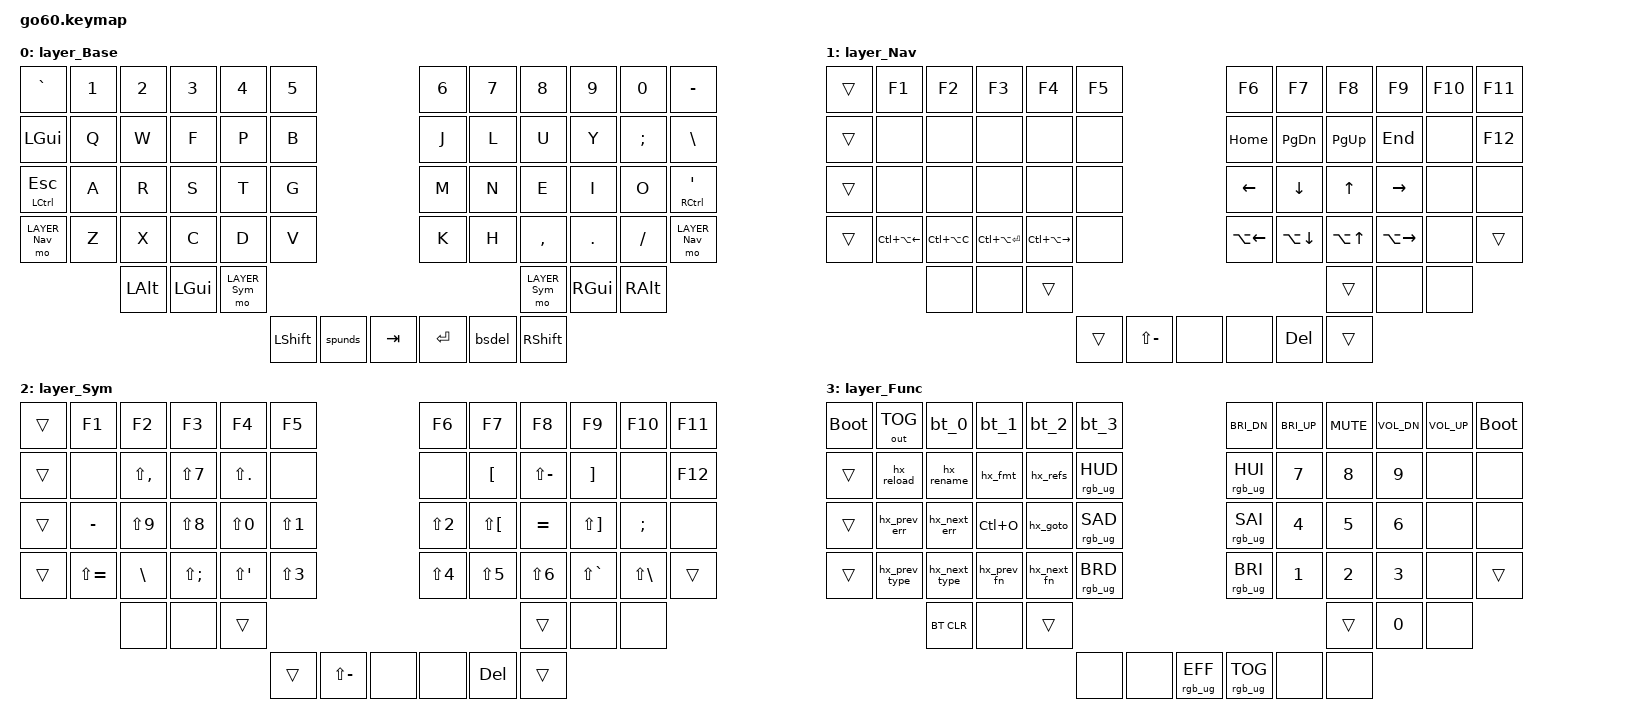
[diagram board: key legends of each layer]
/*
 * Copyright (c) 2020 The ZMK Contributors
 * Copyright (c) 2025 Innaworks Development Limited, trading as MoErgo
 *
 * SPDX-License-Identifier: MIT
 */


/* THIS FILE WAS GENERATED BY GO60 LAYOUT EDITOR
 *
 * This file was generated automatically. You may or may not want to
 * edit it directly.
 */

#include <behaviors.dtsi>

/* Include all behavior includes needed */

#include <dt-bindings/zmk/outputs.h>
#include <dt-bindings/zmk/keys.h>
#include <dt-bindings/zmk/bt.h>
#include <dt-bindings/zmk/rgb.h>

#include <input/processors.dtsi>
#include <dt-bindings/zmk/input_transform.h>
#include <zephyr/dt-bindings/input/input-event-codes.h>

/* On demand includes */
#include <dt-bindings/zmk/input_transform.h>
#include <dt-bindings/zmk/pointing.h>
#include <input/processors.dtsi>

/* Helper Macros, based on https://github.com/urob/zmk-helpers/ */

#pragma once

#define ZMK_HELPER_STRINGIFY(x) #x

// Preprocessor mechanism to overload macros, cf. https://stackoverflow.com/a/27051616/6114651
#define VARGS_(_10, _9, _8, _7, _6, _5, _4, _3, _2, _1, N, ...) N
#define VARGS(...) VARGS_(__VA_ARGS__, 10, 9, 8, 7, 6, 5, 4, 3, 2, 1, 0)
#define CONCAT_(a, b) a##b
#define CONCAT(a, b) CONCAT_(a, b)

#define ZMK_BEHAVIOR_CORE_tap_dance  \
    compatible = "zmk,behavior-tap-dance"; \
    #binding-cells = <0>

#define ZMK_BEHAVIOR(name, type, ...) \
    name: name { \
        ZMK_BEHAVIOR_CORE_ ## type; \
        __VA_ARGS__ \
    };

#define ZMK_TAP_DANCE(name, ...) \
    ZMK_BEHAVIOR(name, tap_dance, __VA_ARGS__)

#define ZMK_TD_LAYER(name, layer) \
    ZMK_TAP_DANCE(name, \
        tapping-term-ms = <200>; \
        bindings = <&mo layer>, <&to layer>; \
)


/* Key positions */

#define POS_LH_C6R1 0
#define POS_LH_C5R1 1
#define POS_LH_C4R1 2
#define POS_LH_C3R1 3
#define POS_LH_C2R1 4
#define POS_LH_C1R1 5
#define POS_RH_C1R1 6
#define POS_RH_C2R1 7
#define POS_RH_C3R1 8
#define POS_RH_C4R1 9
#define POS_RH_C5R1 10
#define POS_RH_C6R1 11
#define POS_LH_C6R2 12
#define POS_LH_C5R2 13
#define POS_LH_C4R2 14
#define POS_LH_C3R2 15
#define POS_LH_C2R2 16
#define POS_LH_C1R2 17
#define POS_RH_C1R2 18
#define POS_RH_C2R2 19
#define POS_RH_C3R2 20
#define POS_RH_C4R2 21
#define POS_RH_C5R2 22
#define POS_RH_C6R2 23
#define POS_LH_C6R3 24
#define POS_LH_C5R3 25
#define POS_LH_C4R3 26
#define POS_LH_C3R3 27
#define POS_LH_C2R3 28
#define POS_LH_C1R3 29
#define POS_RH_C1R3 30
#define POS_RH_C2R3 31
#define POS_RH_C3R3 32
#define POS_RH_C4R3 33
#define POS_RH_C5R3 34
#define POS_RH_C6R3 35
#define POS_LH_C6R4 36
#define POS_LH_C5R4 37
#define POS_LH_C4R4 38
#define POS_LH_C3R4 39
#define POS_LH_C2R4 40
#define POS_LH_C1R4 41
#define POS_RH_C1R4 42
#define POS_RH_C2R4 43
#define POS_RH_C3R4 44
#define POS_RH_C4R4 45
#define POS_RH_C5R4 46
#define POS_RH_C6R4 47
#define POS_LH_C4R5 48
#define POS_LH_C3R5 49
#define POS_LH_C2R5 50
#define POS_RH_C2R5 51
#define POS_RH_C3R5 52
#define POS_RH_C4R5 53
#define POS_LH_T1 54
#define POS_LH_T2 55
#define POS_LH_T3 56
#define POS_RH_T3 57
#define POS_RH_T2 58
#define POS_RH_T1 59


#define LEFT_HAND_KEYS \
  POS_LH_C1R1 POS_LH_C2R1 POS_LH_C3R1 POS_LH_C4R1 POS_LH_C5R1 POS_LH_C6R1 \
  POS_LH_C1R2 POS_LH_C2R2 POS_LH_C3R2 POS_LH_C4R2 POS_LH_C5R2 POS_LH_C6R2 \
  POS_LH_C1R3 POS_LH_C2R3 POS_LH_C3R3 POS_LH_C4R3 POS_LH_C5R3 POS_LH_C6R3 \
  POS_LH_C1R4 POS_LH_C2R4 POS_LH_C3R4 POS_LH_C4R4 POS_LH_C5R4 POS_LH_C6R4 \
              POS_LH_C2R5 POS_LH_C3R5 POS_LH_C4R5

#define RIGHT_HAND_KEYS \
  POS_RH_C1R1 POS_RH_C2R1 POS_RH_C3R1 POS_RH_C4R1 POS_RH_C5R1 POS_RH_C6R1 \
  POS_RH_C1R2 POS_RH_C2R2 POS_RH_C3R2 POS_RH_C4R2 POS_RH_C5R2 POS_RH_C6R2 \
  POS_RH_C1R3 POS_RH_C2R3 POS_RH_C3R3 POS_RH_C4R3 POS_RH_C5R3 POS_RH_C6R3 \
  POS_RH_C1R4 POS_RH_C2R4 POS_RH_C3R4 POS_RH_C4R4 POS_RH_C5R4 POS_RH_C6R4 \
              POS_RH_C2R5 POS_RH_C3R5 POS_RH_C4R5

#define THUMB_KEYS \
  POS_LH_T1 POS_LH_T2 POS_LH_T3 \
  POS_RH_T1 POS_RH_T2 POS_RH_T3

/* Environment and metadata defines */
#define KB_TYPE_GLOVE_80 1
#define KB_TYPE_GO_60    2

#define KB_TYPE          KB_TYPE_GO_60
#define EDITOR_HOST_OS   'M'

/* Automatically generated layer name defines */
#define LAYER_Base 0
#define LAYER_Nav 1
#define LAYER_Sym 2
#define LAYER_Func 3

/* To deal with the situation where there is no Lower layer, to keep &lower happy */
#ifndef LAYER_Lower
#define LAYER_Lower 0
#endif

/* Generated input processors */
/ {
    input_processors {
        zip_click_to_right_click_mapper: zip_click_to_right_click_mapper {
            compatible = "zmk,input-processor-code-mapper";
            #input-processor-cells = <0>;
            type = <INPUT_EV_KEY>;
            map = <INPUT_BTN_0 INPUT_BTN_1>;
        };
    };
};

/* Custom Device-tree */


/* Input Listeners */
&cirque_rh_listener {
    input-processors = <&zip_xy_scaler 3 1>;
    layer_2 {
        layers = <LAYER_Sym>;
        input-processors = <&zip_xy_scaler 9 1>;
    };
};

&cirque_lh_listener {
    input-processors = <&zip_xy_to_scroll_mapper>, <&zip_xy_scaler 11 12>, <&zip_xy_transform INPUT_TRANSFORM_Y_INVERT>, <&zip_click_to_right_click_mapper>, <&zip_scroll_scaler 1 8>;
};

/* System behavior and macros */
/ {
    behaviors {
        ZMK_TD_LAYER(lower, LAYER_Lower)
    };
};

/ {
    macros {
        rgb_ug_status_macro: rgb_ug_status_macro {
            label = "RGB_UG_STATUS";
            compatible = "zmk,behavior-macro";
            #binding-cells = <0>;
            bindings
                = <&rgb_ug RGB_STATUS>;
        };
    };
};

/ {
#ifdef BT_DISC_CMD
    behaviors {
        bt_0: bt_0 {
            compatible = "zmk,behavior-tap-dance";
            label = "BT_0";
            #binding-cells = <0>;
            tapping-term-ms = <200>;
            bindings = <&bt_select_0>, <&bt BT_DISC 0>;
        };
        bt_1: bt_1 {
            compatible = "zmk,behavior-tap-dance";
            label = "BT_1";
            #binding-cells = <0>;
            tapping-term-ms = <200>;
            bindings = <&bt_select_1>, <&bt BT_DISC 1>;
        };
        bt_2: bt_2 {
            compatible = "zmk,behavior-tap-dance";
            label = "BT_2";
            #binding-cells = <0>;
            tapping-term-ms = <200>;
            bindings = <&bt_select_2>, <&bt BT_DISC 2>;
        };
        bt_3: bt_3 {
            compatible = "zmk,behavior-tap-dance";
            label = "BT_3";
            #binding-cells = <0>;
            tapping-term-ms = <200>;
            bindings = <&bt_select_3>, <&bt BT_DISC 3>;
        };
    };
    macros {
        bt_select_0: bt_select_0 {
            label = "BT_SELECT_0";
            compatible = "zmk,behavior-macro";
            #binding-cells = <0>;
            bindings
                = <&out OUT_BLE>,
                  <&bt BT_SEL 0>;
        };
        bt_select_1: bt_select_1 {
            label = "BT_SELECT_1";
            compatible = "zmk,behavior-macro";
            #binding-cells = <0>;
            bindings
                = <&out OUT_BLE>,
                  <&bt BT_SEL 1>;
        };
        bt_select_2: bt_select_2 {
            label = "BT_SELECT_2";
            compatible = "zmk,behavior-macro";
            #binding-cells = <0>;
            bindings
                = <&out OUT_BLE>,
                  <&bt BT_SEL 2>;
        };
        bt_select_3: bt_select_3 {
            label = "BT_SELECT_3";
            compatible = "zmk,behavior-macro";
            #binding-cells = <0>;
            bindings
                = <&out OUT_BLE>,
                  <&bt BT_SEL 3>;
        };
    };
#else
    macros {
        bt_0: bt_0 {
            label = "BT_0";
            compatible = "zmk,behavior-macro";
            #binding-cells = <0>;
            bindings
                = <&out OUT_BLE>,
                  <&bt BT_SEL 0>;
        };
        bt_1: bt_1 {
            label = "BT_1";
            compatible = "zmk,behavior-macro";
            #binding-cells = <0>;
            bindings
                = <&out OUT_BLE>,
                  <&bt BT_SEL 1>;
        };
        bt_2: bt_2 {
            label = "BT_2";
            compatible = "zmk,behavior-macro";
            #binding-cells = <0>;
            bindings
                = <&out OUT_BLE>,
                  <&bt BT_SEL 2>;
        };
        bt_3: bt_3 {
            label = "BT_3";
            compatible = "zmk,behavior-macro";
            #binding-cells = <0>;
            bindings
                = <&out OUT_BLE>,
                  <&bt BT_SEL 3>;
        };
    };
#endif
};

/ {
    behaviors {
        magic: magic {
            compatible = "zmk,behavior-hold-tap";
            label = "MAGIC_HOLD_TAP";
            #binding-cells = <2>;
            flavor = "tap-preferred";
            tapping-term-ms = <200>;
            bindings = <&mo>, <&rgb_ug_status_macro>;
        };
    };
};


/* Custom Defined Behaviors */
/ {

};

/* Automatically generated macro definitions */
/ {
    macros {

        hx_prev_err: hx_prev_err {
            label = "&HX_PREV_ERR";
            compatible = "zmk,behavior-macro";
            #binding-cells = <0>;
            bindings = <&kp LBKT>
                , <&kp D>;
        };

        hx_next_err: hx_next_err {
            label = "&HX_NEXT_ERR";
            compatible = "zmk,behavior-macro";
            #binding-cells = <0>;
            bindings = <&kp RBKT>
                , <&kp D>;
        };

        hx_goto: hx_goto {
            label = "&HX_GOTO";
            compatible = "zmk,behavior-macro";
            #binding-cells = <0>;
            bindings = <&kp G>
                , <&kp D>;
        };

        hx_refs: hx_refs {
            label = "&HX_REFS";
            compatible = "zmk,behavior-macro";
            #binding-cells = <0>;
            bindings = <&kp G>
                , <&kp R>;
        };

        hx_prev_type: hx_prev_type {
            label = "&HX_PREV_TYPE";
            compatible = "zmk,behavior-macro";
            #binding-cells = <0>;
            bindings = <&kp LBKT>
                , <&kp T>;
        };

        hx_next_type: hx_next_type {
            label = "&HX_NEXT_TYPE";
            compatible = "zmk,behavior-macro";
            #binding-cells = <0>;
            bindings = <&kp RBKT>
                , <&kp T>;
        };

        hx_prev_fn: hx_prev_fn {
            label = "&HX_PREV_FN";
            compatible = "zmk,behavior-macro";
            #binding-cells = <0>;
            bindings = <&kp LBKT>
                , <&kp F>;
        };

        hx_next_fn: hx_next_fn {
            label = "&HX_NEXT_FN";
            compatible = "zmk,behavior-macro";
            #binding-cells = <0>;
            bindings = <&kp RBKT>
                , <&kp F>;
        };

        hx_fmt: hx_fmt {
            label = "&HX_FMT";
            compatible = "zmk,behavior-macro";
            #binding-cells = <0>;
            bindings = <&kp LS(SEMI)>
                , <&kp F>
                , <&kp M>
                , <&kp T>
                , <&kp RET>;
        };

        hx_rename: hx_rename {
            label = "&HX_RENAME";
            compatible = "zmk,behavior-macro";
            #binding-cells = <0>;
            bindings = <&kp SPACE>
                , <&kp R>;
        };

        hx_reload: hx_reload {
            label = "&HX_RELOAD";
            compatible = "zmk,behavior-macro";
            #binding-cells = <0>;
            bindings = <&kp LS(SEMI)>
                , <&kp R>
                , <&kp L>
                , <&kp A>
                , <&kp RET>;
        };

    };
};

/* Automatically generated behavior definitions */
/ {
    behaviors {
        spunds: space_underscore {
            compatible = "zmk,behavior-mod-morph";
            #binding-cells = <0>;
            bindings = <&kp SPACE>, <&kp LS(MINUS)>;
            mods = <(MOD_LSFT|MOD_RSFT)>;
        };
        bsdel: backspace_delete {
            compatible = "zmk,behavior-mod-morph";
            #binding-cells = <0>;
            bindings = <&kp BSPC>, <&kp DEL>;
            mods = <(MOD_LSFT|MOD_RSFT)>;
        };
    };
};

/* Automatically generated combos definitions */
/ {
    combos {
        compatible = "zmk,combos";

        combo_caps_word {
            key-positions = <POS_LH_T1 POS_RH_T1>;
            bindings = <&caps_word>;
            layers = <LAYER_Base>;
        };
    };
};

/ {
    conditional_layers {
        compatible = "zmk,conditional-layers";
        tri_layer {
            if-layers = <1 2>;
            then-layer = <3>;
        };
    };
};

/ {
    behaviors {
        hml: home_row_mod_left {
            compatible = "zmk,behavior-hold-tap";
            #binding-cells = <2>;
            flavor = "balanced";
            require-prior-idle-ms = <150>;
            tapping-term-ms = <200>;
            quick-tap-ms = <175>;
            bindings = <&kp>, <&kp>;
            hold-trigger-key-positions = < POS_RH_C1R1 POS_RH_C2R1 POS_RH_C3R1 POS_RH_C4R1 POS_RH_C5R1 POS_RH_C6R1 POS_RH_C1R2 POS_RH_C2R2 POS_RH_C3R2 POS_RH_C4R2 POS_RH_C5R2 POS_RH_C6R2 POS_RH_C1R3 POS_RH_C2R3 POS_RH_C3R3 POS_RH_C4R3 POS_RH_C5R3 POS_RH_C6R3 POS_RH_C1R4 POS_RH_C2R4 POS_RH_C3R4 POS_RH_C4R4 POS_RH_C5R4 POS_RH_C6R4 POS_RH_C2R5 POS_RH_C3R5 POS_RH_C4R5 >;
            hold-trigger-on-release;
        };
        hmr: home_row_mod_right {
            compatible = "zmk,behavior-hold-tap";
            #binding-cells = <2>;
            flavor = "balanced";
            require-prior-idle-ms = <150>;
            tapping-term-ms = <200>;
            quick-tap-ms = <175>;
            bindings = <&kp>, <&kp>;
            hold-trigger-key-positions = < POS_LH_C1R1 POS_LH_C2R1 POS_LH_C3R1 POS_LH_C4R1 POS_LH_C5R1 POS_LH_C6R1 POS_LH_C1R2 POS_LH_C2R2 POS_LH_C3R2 POS_LH_C4R2 POS_LH_C5R2 POS_LH_C6R2 POS_LH_C1R3 POS_LH_C2R3 POS_LH_C3R3 POS_LH_C4R3 POS_LH_C5R3 POS_LH_C6R3 POS_LH_C1R4 POS_LH_C2R4 POS_LH_C3R4 POS_LH_C4R4 POS_LH_C5R4 POS_LH_C6R4 POS_LH_C2R5 POS_LH_C3R5 POS_LH_C4R5 >;
            hold-trigger-on-release;
        };
    };
};

/* Automatically generated keymap */
/ {
    keymap {
        compatible = "zmk,keymap";


        layer_Base {
            bindings = <
       &kp GRAVE  &kp N1  &kp N2  &kp N3         &kp N4  &kp N5                                                               &kp N6         &kp N7     &kp N8   &kp N9    &kp N0  &kp MINUS
       &kp LGUI   &kp Q   &kp W   &kp F          &kp P   &kp B                                                                &kp J          &kp L      &kp U    &kp Y  &kp SEMI   &kp BSLH
 &hml LCTRL ESC   &kp A   &kp R   &kp S          &kp T   &kp G                                                                &kp M          &kp N      &kp E    &kp I     &kp O   &hmr RCTRL SQT
  &mo LAYER_Nav   &kp Z   &kp X   &kp C          &kp D   &kp V                                                                &kp K          &kp H  &kp COMMA  &kp DOT  &kp FSLH   &mo LAYER_Nav
                          &kp LALT &kp LGUI  &mo LAYER_Sym                                                                               &mo LAYER_Sym      &kp RGUI    &kp RALT
                                                                &kp LSHFT  &spunds    &kp TAB  &kp RET  &bsdel     &kp RSHFT
            >;
        };

        layer_Nav {
            bindings = <
 &trans             &kp F1         &kp F2           &kp F3             &kp F4  &kp F5                                                          &kp F6     &kp F7        &kp F8      &kp F9      &kp F10      &kp F11
 &trans             &none          &none            &none              &none   &none                                                           &kp HOME      &kp PG_DN   &kp PG_UP   &kp END    &none        &kp F12
 &trans             &none          &none            &none              &none   &none                                                           &kp LEFT      &kp DOWN    &kp UP      &kp RIGHT  &none        &none
 &trans  &kp LC(LA(LEFT))  &kp LC(LA(C))  &kp LC(LA(RET))  &kp LC(LA(RIGHT))   &none                                                           &kp LA(LEFT)  &kp LA(DOWN)  &kp LA(UP)  &kp LA(RIGHT)  &none  &trans
                                   &none            &none             &trans                                                                                &trans         &none       &none
                                                                                      &trans  &kp LS(MINUS)   &none   &none  &kp DEL  &trans
            >;
        };

        layer_Sym {
            bindings = <
 &trans         &kp F1         &kp F2      &kp F3       &kp F4      &kp F5                                                              &kp F6        &kp F7         &kp F8         &kp F9       &kp F10  &kp F11
 &trans          &none  &kp LS(COMMA)  &kp LS(N7)  &kp LS(DOT)       &none                                                               &none      &kp LBKT  &kp LS(MINUS)       &kp RBKT         &none  &kp F12
 &trans      &kp MINUS     &kp LS(N9)  &kp LS(N8)   &kp LS(N0)  &kp LS(N1)                                                          &kp LS(N2)  &kp LS(LBKT)      &kp EQUAL   &kp LS(RBKT)      &kp SEMI    &none
 &trans  &kp LS(EQUAL)     &kp BSLH  &kp LS(SEMI)  &kp LS(SQT)  &kp LS(N3)                                                          &kp LS(N4)    &kp LS(N5)     &kp LS(N6)  &kp LS(GRAVE)  &kp LS(BSLH)   &trans
                                &none       &none       &trans                                                                                        &trans          &none          &none
                                                                            &trans  &kp LS(MINUS)   &none   &none  &kp DEL  &trans
            >;
        };

        layer_Func {
            bindings = <
 &bootloader   &out OUT_TOG          &bt_0        &bt_1        &bt_2     &bt_3                                                  &kp C_BRI_DN  &kp C_BRI_UP  &kp C_MUTE  &kp C_VOL_DN  &kp C_VOL_UP  &bootloader
      &trans   &hx_reload     &hx_rename      &hx_fmt     &hx_refs  &rgb_ug RGB_HUD                                               &rgb_ug RGB_HUI        &kp N7      &kp N8        &kp N9         &none        &none
      &trans   &hx_prev_err   &hx_next_err    &kp LC(O)     &hx_goto  &rgb_ug RGB_SAD                                               &rgb_ug RGB_SAI        &kp N4      &kp N5        &kp N6         &none        &none
      &trans  &hx_prev_type  &hx_next_type  &hx_prev_fn  &hx_next_fn  &rgb_ug RGB_BRD                                               &rgb_ug RGB_BRI        &kp N1      &kp N2        &kp N3         &none       &trans
                              &bt BT_CLR      &none       &trans                                                                                &trans      &kp N0         &none
                                                                                 &none   &none  &rgb_ug RGB_EFF   &rgb_ug RGB_TOG   &none   &none
            >;
        };

    };
};
